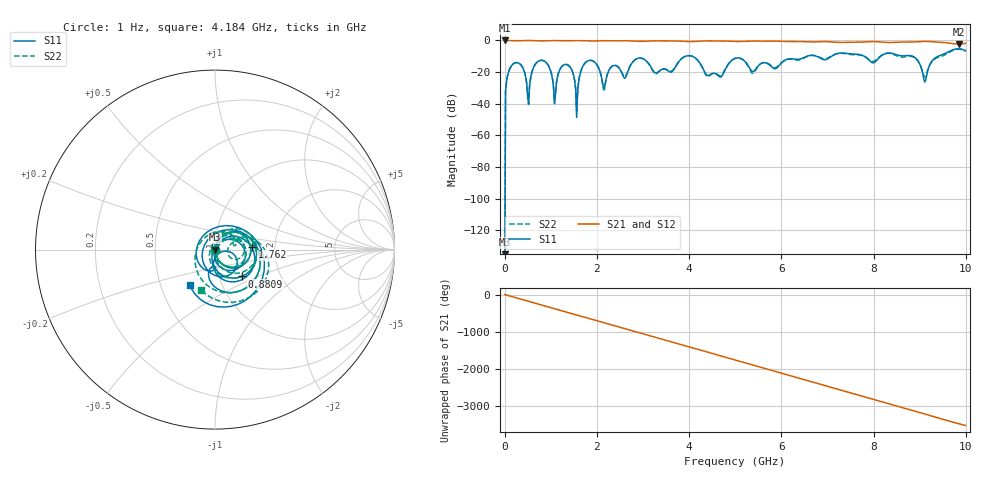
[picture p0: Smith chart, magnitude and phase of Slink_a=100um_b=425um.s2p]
! TouchStone data converted from IdEM dataset
# Hz S DB R 50
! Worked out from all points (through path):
!   500 points, 1 Hz to 9.99 GHz, reference 50 ohm
!   highest |S21| = 0.00 dB at 1 Hz (marker M1); lowest = -2.2 dB at 9.85 GHz (marker M2)
!   group delay of S21, straight-line fit = 978 ps
!   lowest |S11| = -178.2 dB at 1 Hz (marker M3), VSWR 1.00, Z = 50 + j1.24e-07 ohm
!   |S11| at or under -10 dB: start of sweep to 3.922 GHz; 4.068 GHz to 6.554 GHz (2.486 GHz wide, 46.8 % of centre); 8.849 GHz to 9.4 GHz (551.3 MHz wide, 6.04 % of centre)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
!   |S22| runs from -178.2 to -5.5 dB; largest |S21 - S12| = 3.5e-15
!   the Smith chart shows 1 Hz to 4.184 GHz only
!   S11 on the Smith chart (normalised r, x): 1 Hz: 1.00, +0.00; 880.9 MHz: 1.28, -0.40; 1.762 GHz: 1.52, +0.04; 4.184 GHz: 0.70, -0.29
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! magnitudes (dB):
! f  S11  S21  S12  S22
! 1 Hz  -178.2  0.0  0.0  -178.2
! 60.06 MHz  -22.8  0.0  0.0  -22.8
! 140.1 MHz  -16.4  -0.1  -0.1  -16.4
! 520.5 MHz  -40.1  0.0  0.0  -40.5
! 880.9 MHz  -13.5  -0.3  -0.3  -13.5
! 1.081 GHz  -40.0  -0.1  -0.1  -38.6
! 1.341 GHz  -15.2  -0.2  -0.2  -15.2
! 1.562 GHz  -48.7  -0.1  -0.1  -44.7
! 1.682 GHz  -17.2  -0.2  -0.2  -17.2
! 1.762 GHz  -13.7  -0.3  -0.3  -13.7
! 2.162 GHz  -30.1  -0.1  -0.1  -31.3
! 2.903 GHz  -11.2  -0.5  -0.5  -11.2
! 3.343 GHz  -19.6  -0.2  -0.2  -19.8
! 4.184 GHz  -12.4  -0.5  -0.5  -12.5
! 4.665 GHz  -23.0  -0.3  -0.3  -22.3
! 5.005 GHz  -11.3  -0.6  -0.6  -11.3
! 5.385 GHz  -19.7  -0.4  -0.4  -20.8
! 6.667 GHz  -9.4  -1.0  -1.0  -9.4
! 8.328 GHz  -7.9  -1.3  -1.3  -8.1
! 9.109 GHz  -26.4  -0.6  -0.6  -23.1
! 9.85 GHz  -5.3  -2.2  -2.2  -5.5
! 9.99 GHz  -6.5  -1.8  -1.8  -6.6
